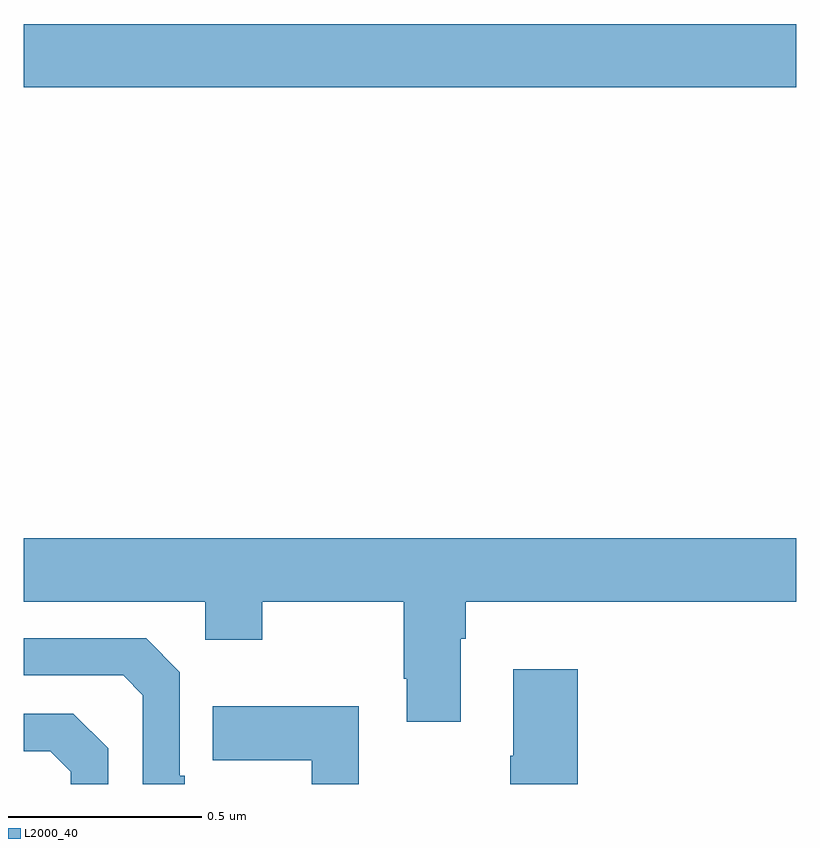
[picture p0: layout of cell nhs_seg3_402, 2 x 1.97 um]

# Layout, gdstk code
import gdstk
lib = gdstk.Library(unit=1e-6, precision=1e-09)
def R(c, l, rs):  # rectangles x0, y0, x1, y1
    for r in rs: c.add(gdstk.rectangle(r[:2], r[2:], *l))
def P(c, l, *ps):  # polygons
    for p in ps: c.add(gdstk.Polygon(p, *l))
L2000_40 = (2000, 40)

nhs_seg3_402 = lib.new_cell('nhs_seg3_402')
R(nhs_seg3_402, L2000_40, [(115,746.204,117,746.368)])
P(nhs_seg3_402, L2000_40, [(116.131,744.776),(116.144,744.776),(116.144,744.872),(117,744.872),(117,745.036),(115,745.036),(115,744.872),(115.47,744.872),(115.47,744.773),(115.617,744.773),(115.617,744.872),(115.984,744.872),(115.984,744.673),(115.991,744.673),(115.991,744.561),(116.131,744.561)],
  [(115.417,744.421),(115.404,744.421),(115.404,744.69),(115.317,744.777),(115,744.777),(115,744.681),(115.257,744.681),(115.308,744.63),(115.308,744.4),(115.417,744.4)],
  [(116.435,744.697),(116.267,744.697),(116.267,744.473),(116.26,744.473),(116.26,744.4),(116.435,744.4)],
  [(115.867,744.601),(115.489,744.601),(115.489,744.461),(115.746,744.461),(115.746,744.4),(115.867,744.4)],
  [(115.218,744.492),(115.128,744.582),(115,744.582),(115,744.485),(115.069,744.485),(115.122,744.432),(115.122,744.4),(115.218,744.4)])

lib.write_gds('nhs_seg3_402.gds')
